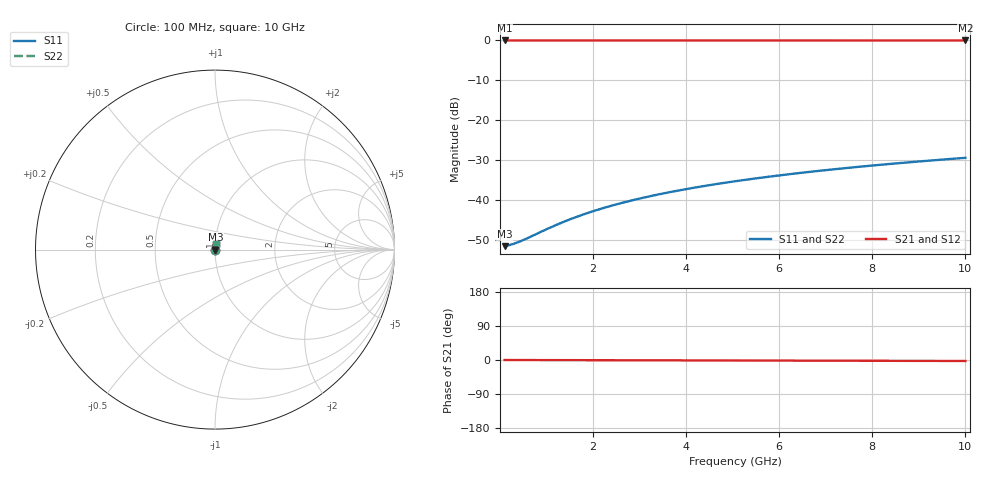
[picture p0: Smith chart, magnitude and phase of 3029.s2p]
# Hz S RI R 50.00
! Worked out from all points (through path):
!   100 points, 100 MHz to 10 GHz, reference 50 ohm
!   highest |S21| = -0.02 dB at 100 MHz (marker M1); lowest = 0.0 dB at 10 GHz (marker M2)
!   lowest |S11| = -51.5 dB at 100 MHz (marker M3), VSWR 1.01, Z = 50.3 + j0.0338 ohm
!   |S11| at or under -10 dB: start of sweep to end of sweep
!   |S22| runs from -51.5 to -29.4 dB; largest |S21 - S12| = 0
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1e8  0.00265 0.000336  0.9974 -0.000451  0.9974 -0.000451  0.00265 0.000336
2e8  0.00266 0.000673  0.9973 -0.000902  0.9973 -0.000902  0.00266 0.000673
3e8  0.00268 0.00101  0.9973 -0.00135  0.9973 -0.00135  0.00268 0.00101
4e8  0.00269 0.00135  0.9973 -0.0018  0.9973 -0.0018  0.00269 0.00135
6e8  0.00271 0.00202  0.9973 -0.0027  0.9973 -0.0027  0.00271 0.00202
1e9  0.00274 0.00336  0.9973 -0.00451  0.9973 -0.00451  0.00274 0.00336
1.2e9  0.00276 0.00403  0.9972 -0.00541  0.9972 -0.00541  0.00276 0.00403
1.5e9  0.00278 0.00504  0.9972 -0.00676  0.9972 -0.00676  0.00278 0.00504
1.8e9  0.00281 0.00605  0.9972 -0.00811  0.9972 -0.00811  0.00281 0.00605
2.1e9  0.00284 0.00706  0.9972 -0.00947  0.9972 -0.00947  0.00284 0.00706
2.5e9  0.00288 0.00841  0.9971 -0.0113  0.9971 -0.0113  0.00288 0.00841
2.9e9  0.00292 0.00975  0.9971 -0.0131  0.9971 -0.0131  0.00292 0.00975
3.4e9  0.00298 0.0114  0.997 -0.0153  0.997 -0.0153  0.00298 0.0114
3.8e9  0.00303 0.0128  0.997 -0.0171  0.997 -0.0171  0.00303 0.0128
4.2e9  0.00309 0.0141  0.9969 -0.0189  0.9969 -0.0189  0.00309 0.0141
4.6e9  0.00315 0.0155  0.9968 -0.0207  0.9968 -0.0207  0.00315 0.0155
5.1e9  0.00324 0.0172  0.9967 -0.023  0.9967 -0.023  0.00324 0.0172
5.9e9  0.00339 0.0198  0.9966 -0.0266  0.9966 -0.0266  0.00339 0.0198
6.7e9  0.00356 0.0225  0.9964 -0.0302  0.9964 -0.0302  0.00356 0.0225
7.5e9  0.00374 0.0252  0.9962 -0.0338  0.9962 -0.0338  0.00374 0.0252
8.4e9  0.00398 0.0283  0.996 -0.0379  0.996 -0.0379  0.00398 0.0283
1e10  0.00446 0.0337  0.9955 -0.0452  0.9955 -0.0452  0.00446 0.0337
